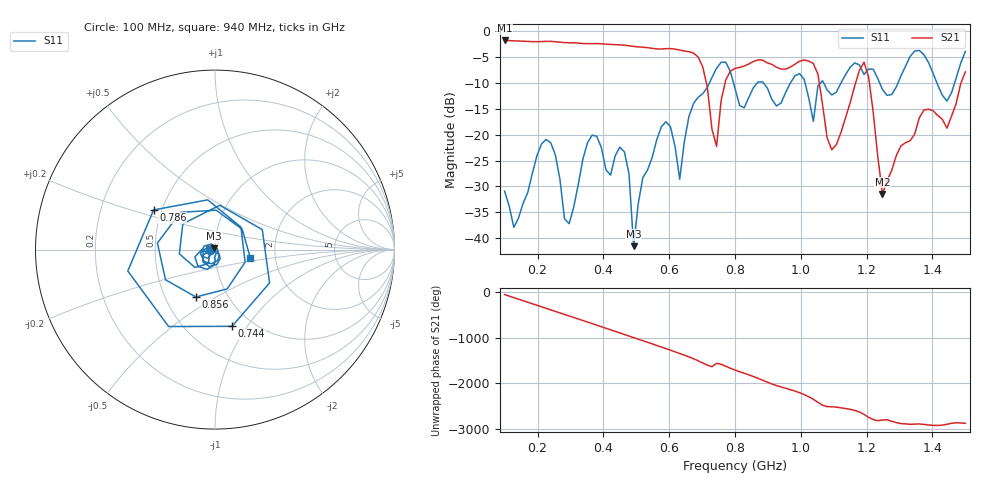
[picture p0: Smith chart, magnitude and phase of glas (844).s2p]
! NanoVNA-App
! Date: 2025-09-25 16:02:02
! Start: 100MHz Stop: 1,5GHz Points: 101
! S-Parameter data: F S11 S21 S12 S22
# Hz S RI R 50
!  Frequency  S11_Real  S11_Imag  S21_Real  S21_Imag  S12_Real  S12_Imag  S22_Real  S22_Imag
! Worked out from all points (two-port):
!   101 points, 100 MHz to 1.5 GHz, reference 50 ohm
!   highest |S21| = -1.80 dB at 100 MHz (marker M1); lowest = -31.5 dB at 1.248 GHz (marker M2)
!   |S21| within 3 dB of the highest: start of sweep to 684.4 MHz
!   lowest |S11| = -41.5 dB at 492 MHz (marker M3), VSWR 1.02, Z = 49.5 + j0.628 ohm
!   |S11| at or under -10 dB: start of sweep to 722.4 MHz; 795.5 MHz to 867.7 MHz (72.2 MHz wide, 8.68 % of centre); 886.2 MHz to 968.6 MHz (82.32 MHz wide, 8.88 % of centre) (the widest 3 of 7)
!   S12 and S22 are empty: the file has one direction only
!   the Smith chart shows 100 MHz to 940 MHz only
!   S11 on the Smith chart (normalised r, x): 100 MHz: 0.94, -0.01; 744 MHz: 0.81, -0.85; 786 MHz: 0.45, +0.24; 856 MHz: 0.71, -0.41; 940 MHz: 1.48, -0.14
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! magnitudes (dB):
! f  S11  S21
! 100 MHz  -30.9  -1.8
! 128 MHz  -37.9  -1.9
! 226 MHz  -20.9  -2.0
! 296 MHz  -37.2  -2.2
! 338 MHz  -24.7  -2.4
! 464 MHz  -23.3  -2.7
! 492 MHz  -41.5  -3.0
! 576 MHz  -18.5  -3.5
! 632 MHz  -28.6  -3.7
! 702 MHz  -12.1  -6.9
! 744 MHz  -7.2  -22.3
! 786 MHz  -7.8  -7.7
! 800 MHz  -11.1  -7.2
! 856 MHz  -10.9  -5.9
! 940 MHz  -13.9  -7.3
! 996 MHz  -8.2  -5.8
! 1.038 GHz  -17.5  -6.3
! 1.094 GHz  -12.3  -22.9
! 1.192 GHz  -8.4  -6.0
! 1.248 GHz  -11.3  -31.5
! 1.276 GHz  -12.3  -26.9
! 1.5 GHz  -3.9  -7.9
